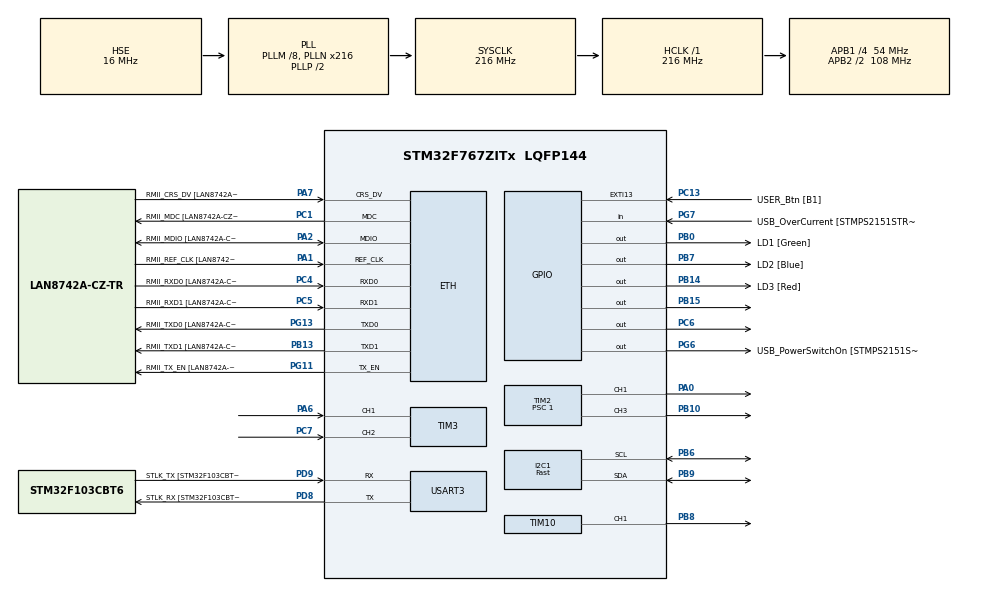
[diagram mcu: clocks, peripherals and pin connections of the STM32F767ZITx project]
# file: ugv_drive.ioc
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CORTEX_M7.AccessPermission-Cortex_Memory_Protection_Unit_Region0_Settings=MPU_REGION_FULL_ACCESS
CORTEX_M7.BaseAddress-Cortex_Memory_Protection_Unit_Region0_Settings=0x2007c000
CORTEX_M7.CPU_DCache=Enabled
CORTEX_M7.CPU_ICache=Enabled
CORTEX_M7.DisableExec-Cortex_Memory_Protection_Unit_Region0_Settings=MPU_INSTRUCTION_ACCESS_DISABLE
CORTEX_M7.Enable-Cortex_Memory_Protection_Unit_Region0_Settings=MPU_REGION_ENABLE
CORTEX_M7.IsShareable-Cortex_Memory_Protection_Unit_Region0_Settings=MPU_ACCESS_SHAREABLE
CORTEX_M7.MPU_Control=MPU_PRIVILEGED_DEFAULT
CORTEX_M7.PREFETCH_ENABLE=1
CORTEX_M7.Size-Cortex_Memory_Protection_Unit_Region0_Settings=MPU_REGION_SIZE_16KB
CORTEX_M7.TypeExtField-Cortex_Memory_Protection_Unit_Region0_Settings=MPU_TEX_LEVEL1
ETH.MACAddr=00\:80\:E1\:00\:00\:20
ETH.MediaInterface=HAL_ETH_RMII_MODE
I2C1.I2C_Speed_Mode=I2C_Fast
I2C1.Timing=0x6000030D
LWIP.BSP.number=1
LWIP.GATEWAY_ADDRESS=192.168.020.001
LWIP.IP_ADDRESS=192.168.020.021
LWIP.LWIP_DHCP=0
LWIP.MEM_SIZE=10*1024
LWIP.NETMASK_ADDRESS=255.255.255.000
LWIP.Version=v2.1.2_Cube
LWIP0.BSP.STBoard=false
LWIP0.BSP.api=BSP_COMPONENT_DRIVER
LWIP0.BSP.component=LAN8742
LWIP0.BSP.instance=LAN8742
LWIP0.BSP.name=Driver_PHY
LWIP0.BSP.semaphore=S_LAN8742
LWIP0.BSP.solution=LAN8742
Mcu.Family=STM32F7
Mcu.Name=STM32F767ZITx
Mcu.Package=LQFP144
NVIC.ETH_IRQn=true\:0\:0\:false\:false\:true\:true\:true\:true
NVIC.I2C1_ER_IRQn=true\:0\:0\:false\:false\:true\:true\:true\:true
NVIC.I2C1_EV_IRQn=true\:0\:0\:false\:false\:true\:true\:true\:true
NVIC.PriorityGroup=NVIC_PRIORITYGROUP_4
NVIC.TIM1_BRK_TIM9_IRQn=true\:0\:0\:false\:false\:true\:true\:true\:true
NVIC.TIM1_UP_TIM10_IRQn=true\:0\:0\:false\:false\:true\:true\:true\:true
NVIC.TIM3_IRQn=true\:0\:0\:false\:false\:true\:true\:true\:true
NVIC.TIM8_UP_TIM13_IRQn=true\:0\:0\:false\:false\:true\:true\:true\:true
PA0/WKUP.Signal=S_TIM2_CH1_ETR
PA1.GPIO_Label=RMII_REF_CLK [LAN8742A-CZ-TR_REFCLK0]
PA1.Mode=RMII
PA1.Signal=ETH_REF_CLK
PA10.GPIO_Label=USB_ID
PA10.Signal=USB_OTG_FS_ID
PA11.GPIO_Label=USB_DM
PA11.Signal=USB_OTG_FS_DM
PA12.GPIO_Label=USB_DP
PA12.Signal=USB_OTG_FS_DP
PA13.GPIO_Label=TMS
PA13.Signal=SYS_JTMS-SWDIO
PA14.GPIO_Label=TCK
PA14.Signal=SYS_JTCK-SWCLK
PA2.GPIO_Label=RMII_MDIO [LAN8742A-CZ-TR_MDIO]
PA2.Mode=RMII
PA2.Signal=ETH_MDIO
PA6.GPIO_PuPd=GPIO_PULLUP
PA6.Signal=S_TIM3_CH1
PA7.GPIO_Label=RMII_CRS_DV [LAN8742A-CZ-TR_CRS_DV]
PA7.Mode=RMII
PA7.Signal=ETH_CRS_DV
PA8.GPIO_Label=USB_SOF [TP1]
PA8.Signal=USB_OTG_FS_SOF
PA9.GPIO_Label=USB_VBUS
PA9.Signal=USB_OTG_FS_VBUS
PB0.GPIO_Label=LD1 [Green]
PB0.Signal=GPIO_Output
PB10.Signal=S_TIM2_CH3
PB13.GPIO_Label=RMII_TXD1 [LAN8742A-CZ-TR_TXD1]
PB13.Mode=RMII
PB13.Signal=ETH_TXD1
PB14.GPIO_Label=LD3 [Red]
PB14.Signal=GPIO_Output
PB15.Signal=GPIO_Output
PB3.GPIO_Label=SW0
PB3.Signal=SYS_JTDO-SWO
PB6.GPIO_Pu=GPIO_PULLUP
PB6.Mode=I2C
PB6.Signal=I2C1_SCL
PB7.GPIO_Label=LD2 [Blue]
PB7.Signal=GPIO_Output
PB8.Signal=S_TIM10_CH1
PB9.GPIO_Pu=GPIO_PULLUP
PB9.Mode=I2C
PB9.Signal=I2C1_SDA
PC1.GPIO_Label=RMII_MDC [LAN8742A-CZ-TR_MDC]
PC1.Mode=RMII
PC1.Signal=ETH_MDC
PC13.GPIO_Label=USER_Btn [B1]
PC13.Signal=GPXTI13
PC14/OSC32_IN.Signal=RCC_OSC32_IN
PC15/OSC32_OUT.Signal=RCC_OSC32_OUT
PC4.GPIO_Label=RMII_RXD0 [LAN8742A-CZ-TR_RXD0]
PC4.Mode=RMII
PC4.Signal=ETH_RXD0
PC5.GPIO_Label=RMII_RXD1 [LAN8742A-CZ-TR_RXD1]
PC5.Mode=RMII
PC5.Signal=ETH_RXD1
PC6.Signal=GPIO_Output
PC7.GPIO_PuPd=GPIO_PULLUP
PC7.Signal=S_TIM3_CH2
PD8.GPIO_Label=STLK_RX [STM32F103CBT6_PA3]
PD8.Mode=Asynchronous
PD8.Signal=USART3_TX
PD9.GPIO_Label=STLK_TX [STM32F103CBT6_PA2]
PD9.Mode=Asynchronous
PD9.Signal=USART3_RX
PG11.GPIO_Label=RMII_TX_EN [LAN8742A-CZ-TR_TXEN]
PG11.Mode=RMII
PG11.Signal=ETH_TX_EN
PG13.GPIO_Label=RMII_TXD0 [LAN8742A-CZ-TR_TXD0]
PG13.Mode=RMII
PG13.Signal=ETH_TXD0
PG6.GPIO_Label=USB_PowerSwitchOn [STMPS2151STR_EN]
PG6.Signal=GPIO_Output
PG7.GPIO_Label=USB_OverCurrent [STMPS2151STR_FAULT]
PG7.Signal=GPIO_Input
PH0/OSC_IN.GPIO_Label=MCO [STM32F103CBT6_PA8]
PH0/OSC_IN.Mode=HSE-External-Oscillator
PH0/OSC_IN.Signal=RCC_OSC_IN
PH1/OSC_OUT.Mode=HSE-External-Oscillator
PH1/OSC_OUT.Signal=RCC_OSC_OUT
ProjectManager.HeapSize=0x200
ProjectManager.StackSize=0x400
ProjectManager.TargetToolchain=STM32CubeIDE
RCC.48MHZClocksFreq_Value=24000000
RCC.AHBFreq_Value=216000000
RCC.APB1CLKDivider=RCC_HCLK_DIV4
RCC.APB1Freq_Value=54000000
RCC.APB1TimFreq_Value=108000000
RCC.APB2CLKDivider=RCC_HCLK_DIV2
RCC.APB2Freq_Value=108000000
RCC.APB2TimFreq_Value=216000000
RCC.CortexFreq_Value=216000000
RCC.HCLKFreq_Value=216000000
RCC.HSE_VALUE=16000000
RCC.HSI_VALUE=16000000
RCC.LSE_VALUE=32768
RCC.PLLM=8
RCC.PLLMUL=RCC_PLL_MUL9
RCC.PLLN=216
RCC.PLLSourceVirtual=RCC_PLLSOURCE_HSE
RCC.PRESCALERUSB=RCC_USBCLKSOURCE_PLL_DIV1_5
RCC.SYSCLKFreq_VALUE=216000000
RCC.SYSCLKSource=RCC_SYSCLKSOURCE_PLLCLK
RCC.SYSCLKSourceVirtual=RCC_SYSCLKSOURCE_PLLCLK
RCC.USBFreq_Value=216000000
RCC.VCOOutputFreq_Value=432000000
SH.S_TIM10_CH1.0=TIM10_CH1,PWM Generation1 CH1
SH.S_TIM2_CH1_ETR.0=TIM2_CH1,PWM Generation1 CH1
SH.S_TIM2_CH3.0=TIM2_CH3,PWM Generation3 CH3
SH.S_TIM3_CH1.0=TIM3_CH1,Encoder_Interface
SH.S_TIM3_CH2.0=TIM3_CH2,Encoder_Interface
TIM1.Period=10000
TIM1.Prescaler=10800
TIM10.AutoReloadPreload=TIM_AUTORELOAD_PRELOAD_ENABLE
TIM10.Channel=TIM_CHANNEL_1
TIM10.Period=1999
TIM10.Prescaler=1080
TIM13.Period=499
TIM13.Prescaler=2700
TIM2.Channel-PWM\ Generation1\ CH1=TIM_CHANNEL_1
TIM2.Channel-PWM\ Generation3\ CH3=TIM_CHANNEL_3
TIM2.Period=32767
TIM2.Prescaler=1
TIM3.EncoderMode=TIM_ENCODERMODE_TI12
USART3.VirtualMode-Asynchronous=VM_ASYNC
VP_LWIP_VS_Enabled.Mode=Enabled
VP_TIM10_VS_ClockSourceINT.Mode=Enable_Timer
VP_TIM13_VS_ClockSourceINT.Mode=Enable_Timer
VP_TIM1_VS_ClockSourceINT.Mode=Internal
board=NUCLEO-F767ZI

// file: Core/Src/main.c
/* USER CODE BEGIN Header */
/**
  ******************************************************************************
  * @file           : main.c
  * @brief          : Main program body
  ******************************************************************************
  * @attention
  *
  * Copyright (c) 2024 STMicroelectronics.
  * All rights reserved.
  *
  * This software is licensed under terms that can be found in the LICENSE file
  * in the root directory of this software component.
  * If no LICENSE file comes with this software, it is provided AS-IS.
  *
  ******************************************************************************
  */
/* USER CODE END Header */
#include "main.h"
#include "lwip.h"

/* USER CODE BEGIN Includes */
#include "lwip/pbuf.h"
#include "lwip/udp.h"
#include "lwip/tcp.h"

#include "stdio.h"
#include "string.h"
#include "math.h"

#include "ugv_servo.h"  //Include header for servo driver
#include "motor_control.h" // Motor Control Header for 2023 Driver

// Korbin Code
#include "pid_controller.h"
#include "ugv_encoder.h"
#include "kinematic.h"

/* USER CODE END Includes */

/* USER CODE BEGIN PD */
#define MAX_DUTY 32767

/* USER CODE END PD */

/* USER CODE BEGIN PM */
#define RAD_DEGREE_CONV (180.0/M_PI)
// UGV_LENGTH is the wheel to wheel length of the UGV in feet Might need to convert to meters
const float UGV_LENGTH = 1.7;
/* USER CODE END PM */

I2C_HandleTypeDef hi2c1;

TIM_HandleTypeDef htim1;
TIM_HandleTypeDef htim2;
TIM_HandleTypeDef htim3;
TIM_HandleTypeDef htim10;
TIM_HandleTypeDef htim13;

UART_HandleTypeDef huart3;

/* USER CODE BEGIN PV */

// instantiate steering servo struct
ugvServo_t steeringServo;
MotorControl ugv_drive_mtr;
// Variable to control steering angle
float steer_val = 0;
float velocity_val = 0;
float heading_error = 0;
float object_distance[5] = {0}; //contains 5 distance measurements from depth camera

//Korbin Code
float velocity = 0;
float velocity_set = 0;
float velocity_max = 7.58113636; //in mph
float velocity_error = 0;

kinematic kin;
position pos;

float motor_speed = 0;

// encoder variables
uint32_t enc = 0;

// PID variables
float P = 3.0;
float I = 2.0;
float D = 0.00001;

float PID_value = 0.0;

// Flags that are asserted when == 1
int auto_mode = 0;
int obstacle_flag = 0;
float integral_term = 0;

extern struct netif gnetif;
struct udp_pcb *upcb;
char buffer[100];
int counter;

/* USER CODE END PV */

void SystemClock_Config(void);
static void MPU_Config(void);
static void MX_GPIO_Init(void);
static void MX_TIM1_Init(void);
static void MX_TIM10_Init(void);
static void MX_USART3_UART_Init(void);
static void MX_TIM2_Init(void);
static void MX_TIM13_Init(void);
static void MX_I2C1_Init(void);
static void MX_TIM3_Init(void);
/* USER CODE BEGIN PFP */

void udp_receive_callback(void *arg, struct udp_pcb *upcb, struct pbuf *p,
		const ip_addr_t *addr, u16_t port);
static void udp_client_send();

void udp_client_connect();

void HAL_TIM_PeriodElapsedCallback(TIM_HandleTypeDef *htim);

/* USER CODE END PFP */

/* USER CODE BEGIN 0 */

void HAL_TIM_IC_CaptureCallback(TIM_HandleTypeDef *htim)
{
	enc = __HAL_TIM_GET_COUNTER(htim);
}

/* USER CODE END 0 */

int main(void)
{

  /* MPU Configuration--------------------------------------------------------*/
  MPU_Config();
/* Enable the CPU Cache */

  /* Enable I-Cache---------------------------------------------------------*/
  SCB_EnableICache();

  /* Enable D-Cache---------------------------------------------------------*/
  SCB_EnableDCache();

  /* MCU Configuration--------------------------------------------------------*/

  /* Reset of all peripherals, Initializes the Flash interface and the Systick. */
  HAL_Init();

  /* Configure the system clock */
  SystemClock_Config();

  /* Initialize all configured peripherals */
  MX_GPIO_Init();
  MX_LWIP_Init();
  MX_TIM1_Init();
  MX_TIM10_Init();
  MX_USART3_UART_Init();
  MX_TIM2_Init();
  MX_TIM13_Init();
  MX_I2C1_Init();
  MX_TIM3_Init();
  /* USER CODE BEGIN 2 */

	// 2022 Servo Driver
	steeringServo.timerInstance = &htim10;
	steeringServo.timerCCRX = &TIM10->CCR1;
	steeringServo.timerCh = TIM_CHANNEL_1;
	steeringServo.timerARR = htim10.Init.Period;
	steeringServo.minPulse = 500;
	steeringServo.maxPulse = 2500;
	steeringServo.timerPeriod = 20000;
	steeringServo.travelAngle = 270.0;

	steeringServo.minLimit = 5.0;
	steeringServo.maxLimit = 105.0;
	steeringServo.travelOffset = 50;

	// kinematics
	kin.L = 17; // wheel distance from front to rear in inches
	kin.steering_angle = 0;
	kin.velocity = 0;

	ugv_servoInitServo(&steeringServo);
	MotorControl_Init(&ugv_drive_mtr, &htim2, TIM_CHANNEL_1, TIM_CHANNEL_3);
	udp_client_connect();

  // Start Timer 3 Encoder mode
  HAL_TIM_Encoder_Start_IT(&htim3, TIM_CHANNEL_ALL);

  /*
   * Start HAL timer interrupt. Interrupt occurs once every 25ms
  */
  HAL_TIM_Base_Start_IT(&htim13);

  /* USER CODE END 2 */

  /* Infinite loop */
  /* USER CODE BEGIN WHILE */
  while (1)
  {

	  ethernetif_input(&gnetif);
	  ethernet_link_check_state(&gnetif);
	  sys_check_timeouts();

	HAL_GPIO_TogglePin(GPIOB, GPIO_PIN_14);
    /* USER CODE END WHILE */

  }
}

void SystemClock_Config(void)
{
  RCC_OscInitTypeDef RCC_OscInitStruct = {0};
  RCC_ClkInitTypeDef RCC_ClkInitStruct = {0};

  /** Configure the main internal regulator output voltage
  */
  __HAL_RCC_PWR_CLK_ENABLE();
  __HAL_PWR_VOLTAGESCALING_CONFIG(PWR_REGULATOR_VOLTAGE_SCALE1);

  /** Initializes the RCC Oscillators according to the specified parameters
  * in the RCC_OscInitTypeDef structure.
  */
  RCC_OscInitStruct.OscillatorType = RCC_OSCILLATORTYPE_HSE;
  RCC_OscInitStruct.HSEState = RCC_HSE_ON;
  RCC_OscInitStruct.PLL.PLLState = RCC_PLL_ON;
  RCC_OscInitStruct.PLL.PLLSource = RCC_PLLSOURCE_HSE;
  RCC_OscInitStruct.PLL.PLLM = 8;
  RCC_OscInitStruct.PLL.PLLN = 216;
  RCC_OscInitStruct.PLL.PLLP = RCC_PLLP_DIV2;
  RCC_OscInitStruct.PLL.PLLQ = 2;
  RCC_OscInitStruct.PLL.PLLR = 2;
  if (HAL_RCC_OscConfig(&RCC_OscInitStruct) != HAL_OK)
  {
    Error_Handler();
  }

  /** Activate the Over-Drive mode
  */
  if (HAL_PWREx_EnableOverDrive() != HAL_OK)
  {
    Error_Handler();
  }

  /** Initializes the CPU, AHB and APB buses clocks
  */
  RCC_ClkInitStruct.ClockType = RCC_CLOCKTYPE_HCLK|RCC_CLOCKTYPE_SYSCLK
                              |RCC_CLOCKTYPE_PCLK1|RCC_CLOCKTYPE_PCLK2;
  RCC_ClkInitStruct.SYSCLKSource = RCC_SYSCLKSOURCE_PLLCLK;
  RCC_ClkInitStruct.AHBCLKDivider = RCC_SYSCLK_DIV1;
  RCC_ClkInitStruct.APB1CLKDivider = RCC_HCLK_DIV4;
  RCC_ClkInitStruct.APB2CLKDivider = RCC_HCLK_DIV2;

  if (HAL_RCC_ClockConfig(&RCC_ClkInitStruct, FLASH_LATENCY_7) != HAL_OK)
  {
    Error_Handler();
  }
}

static void MX_I2C1_Init(void)
{

  hi2c1.Instance = I2C1;
  hi2c1.Init.Timing = 0x6000030D;
  hi2c1.Init.OwnAddress1 = 0;
  hi2c1.Init.AddressingMode = I2C_ADDRESSINGMODE_7BIT;
  hi2c1.Init.DualAddressMode = I2C_DUALADDRESS_DISABLE;
  hi2c1.Init.OwnAddress2 = 0;
  hi2c1.Init.OwnAddress2Masks = I2C_OA2_NOMASK;
  hi2c1.Init.GeneralCallMode = I2C_GENERALCALL_DISABLE;
  hi2c1.Init.NoStretchMode = I2C_NOSTRETCH_DISABLE;
  if (HAL_I2C_Init(&hi2c1) != HAL_OK)
  {
    Error_Handler();
  }

  /** Configure Analogue filter
  */
  if (HAL_I2CEx_ConfigAnalogFilter(&hi2c1, I2C_ANALOGFILTER_ENABLE) != HAL_OK)
  {
    Error_Handler();
  }

  /** Configure Digital filter
  */
  if (HAL_I2CEx_ConfigDigitalFilter(&hi2c1, 0) != HAL_OK)
  {
    Error_Handler();
  }

}

static void MX_TIM1_Init(void)
{

  TIM_ClockConfigTypeDef sClockSourceConfig = {0};
  TIM_MasterConfigTypeDef sMasterConfig = {0};

  htim1.Instance = TIM1;
  htim1.Init.Prescaler = 10800;
  htim1.Init.CounterMode = TIM_COUNTERMODE_UP;
  htim1.Init.Period = 10000;
  htim1.Init.ClockDivision = TIM_CLOCKDIVISION_DIV1;
  htim1.Init.RepetitionCounter = 0;
  htim1.Init.AutoReloadPreload = TIM_AUTORELOAD_PRELOAD_DISABLE;
  if (HAL_TIM_Base_Init(&htim1) != HAL_OK)
  {
    Error_Handler();
  }
  sClockSourceConfig.ClockSource = TIM_CLOCKSOURCE_INTERNAL;
  if (HAL_TIM_ConfigClockSource(&htim1, &sClockSourceConfig) != HAL_OK)
  {
    Error_Handler();
  }
  sMasterConfig.MasterOutputTrigger = TIM_TRGO_RESET;
  sMasterConfig.MasterOutputTrigger2 = TIM_TRGO2_RESET;
  sMasterConfig.MasterSlaveMode = TIM_MASTERSLAVEMODE_DISABLE;
  if (HAL_TIMEx_MasterConfigSynchronization(&htim1, &sMasterConfig) != HAL_OK)
  {
    Error_Handler();
  }

}

static void MX_TIM2_Init(void)
{

  TIM_MasterConfigTypeDef sMasterConfig = {0};
  TIM_OC_InitTypeDef sConfigOC = {0};

  htim2.Instance = TIM2;
  htim2.Init.Prescaler = 1;
  htim2.Init.CounterMode = TIM_COUNTERMODE_UP;
  htim2.Init.Period = 32767;
  htim2.Init.ClockDivision = TIM_CLOCKDIVISION_DIV1;
  htim2.Init.AutoReloadPreload = TIM_AUTORELOAD_PRELOAD_DISABLE;
  if (HAL_TIM_PWM_Init(&htim2) != HAL_OK)
  {
    Error_Handler();
  }
  sMasterConfig.MasterOutputTrigger = TIM_TRGO_RESET;
  sMasterConfig.MasterSlaveMode = TIM_MASTERSLAVEMODE_DISABLE;
  if (HAL_TIMEx_MasterConfigSynchronization(&htim2, &sMasterConfig) != HAL_OK)
  {
    Error_Handler();
  }
  sConfigOC.OCMode = TIM_OCMODE_PWM1;
  sConfigOC.Pulse = 0;
  sConfigOC.OCPolarity = TIM_OCPOLARITY_HIGH;
  sConfigOC.OCFastMode = TIM_OCFAST_DISABLE;
  if (HAL_TIM_PWM_ConfigChannel(&htim2, &sConfigOC, TIM_CHANNEL_1) != HAL_OK)
  {
    Error_Handler();
  }
  if (HAL_TIM_PWM_ConfigChannel(&htim2, &sConfigOC, TIM_CHANNEL_3) != HAL_OK)
  {
    Error_Handler();
  }
  HAL_TIM_MspPostInit(&htim2);

}

static void MX_TIM3_Init(void)
{

  TIM_Encoder_InitTypeDef sConfig = {0};
  TIM_MasterConfigTypeDef sMasterConfig = {0};

  htim3.Instance = TIM3;
  htim3.Init.Prescaler = 0;
  htim3.Init.CounterMode = TIM_COUNTERMODE_UP;
  htim3.Init.Period = 65535;
  htim3.Init.ClockDivision = TIM_CLOCKDIVISION_DIV1;
  htim3.Init.AutoReloadPreload = TIM_AUTORELOAD_PRELOAD_DISABLE;
  sConfig.EncoderMode = TIM_ENCODERMODE_TI12;
  sConfig.IC1Polarity = TIM_ICPOLARITY_RISING;
  sConfig.IC1Selection = TIM_ICSELECTION_DIRECTTI;
  sConfig.IC1Prescaler = TIM_ICPSC_DIV1;
  sConfig.IC1Filter = 0;
  sConfig.IC2Polarity = TIM_ICPOLARITY_RISING;
  sConfig.IC2Selection = TIM_ICSELECTION_DIRECTTI;
  sConfig.IC2Prescaler = TIM_ICPSC_DIV1;
  sConfig.IC2Filter = 0;
  if (HAL_TIM_Encoder_Init(&htim3, &sConfig) != HAL_OK)
  {
    Error_Handler();
  }
  sMasterConfig.MasterOutputTrigger = TIM_TRGO_RESET;
  sMasterConfig.MasterSlaveMode = TIM_MASTERSLAVEMODE_DISABLE;
  if (HAL_TIMEx_MasterConfigSynchronization(&htim3, &sMasterConfig) != HAL_OK)
  {
    Error_Handler();
  }

}

static void MX_TIM10_Init(void)
{

  TIM_OC_InitTypeDef sConfigOC = {0};

  htim10.Instance = TIM10;
  htim10.Init.Prescaler = 1080;
  htim10.Init.CounterMode = TIM_COUNTERMODE_UP;
  htim10.Init.Period = 1999;
  htim10.Init.ClockDivision = TIM_CLOCKDIVISION_DIV1;
  htim10.Init.AutoReloadPreload = TIM_AUTORELOAD_PRELOAD_ENABLE;
  if (HAL_TIM_Base_Init(&htim10) != HAL_OK)
  {
    Error_Handler();
  }
  if (HAL_TIM_PWM_Init(&htim10) != HAL_OK)
  {
    Error_Handler();
  }
  sConfigOC.OCMode = TIM_OCMODE_PWM1;
  sConfigOC.Pulse = 0;
  sConfigOC.OCPolarity = TIM_OCPOLARITY_HIGH;
  sConfigOC.OCFastMode = TIM_OCFAST_DISABLE;
  if (HAL_TIM_PWM_ConfigChannel(&htim10, &sConfigOC, TIM_CHANNEL_1) != HAL_OK)
  {
    Error_Handler();
  }
  HAL_TIM_MspPostInit(&htim10);

}

static void MX_TIM13_Init(void)
{

  htim13.Instance = TIM13;
  htim13.Init.Prescaler = 2700;
  htim13.Init.CounterMode = TIM_COUNTERMODE_UP;
  htim13.Init.Period = 499;
  htim13.Init.ClockDivision = TIM_CLOCKDIVISION_DIV1;
  htim13.Init.AutoReloadPreload = TIM_AUTORELOAD_PRELOAD_DISABLE;
  if (HAL_TIM_Base_Init(&htim13) != HAL_OK)
  {
    Error_Handler();
  }

}

static void MX_USART3_UART_Init(void)
{

  huart3.Instance = USART3;
  huart3.Init.BaudRate = 115200;
  huart3.Init.WordLength = UART_WORDLENGTH_8B;
  huart3.Init.StopBits = UART_STOPBITS_1;
  huart3.Init.Parity = UART_PARITY_NONE;
  huart3.Init.Mode = UART_MODE_TX_RX;
  huart3.Init.HwFlowCtl = UART_HWCONTROL_NONE;
  huart3.Init.OverSampling = UART_OVERSAMPLING_16;
  huart3.Init.OneBitSampling = UART_ONE_BIT_SAMPLE_DISABLE;
  huart3.AdvancedInit.AdvFeatureInit = UART_ADVFEATURE_NO_INIT;
  if (HAL_UART_Init(&huart3) != HAL_OK)
  {
    Error_Handler();
  }

}

static void MX_GPIO_Init(void)
{
  GPIO_InitTypeDef GPIO_InitStruct = {0};

  /* GPIO Ports Clock Enable */
  __HAL_RCC_GPIOC_CLK_ENABLE();
  __HAL_RCC_GPIOH_CLK_ENABLE();
  __HAL_RCC_GPIOA_CLK_ENABLE();
  __HAL_RCC_GPIOB_CLK_ENABLE();
  __HAL_RCC_GPIOD_CLK_ENABLE();
  __HAL_RCC_GPIOG_CLK_ENABLE();

  /*Configure GPIO pin Output Level */
  HAL_GPIO_WritePin(GPIOB, LD1_Pin|LD3_Pin|GPIO_PIN_15|LD2_Pin, GPIO_PIN_RESET);

  /*Configure GPIO pin Output Level */
  HAL_GPIO_WritePin(USB_PowerSwitchOn_GPIO_Port, USB_PowerSwitchOn_Pin, GPIO_PIN_RESET);

  /*Configure GPIO pin Output Level */
  HAL_GPIO_WritePin(GPIOC, GPIO_PIN_6, GPIO_PIN_RESET);

  /*Configure GPIO pin : USER_Btn_Pin */
  GPIO_InitStruct.Pin = USER_Btn_Pin;
  GPIO_InitStruct.Mode = GPIO_MODE_IT_RISING;
  GPIO_InitStruct.Pull = GPIO_NOPULL;
  HAL_GPIO_Init(USER_Btn_GPIO_Port, &GPIO_InitStruct);

  /*Configure GPIO pins : LD1_Pin LD3_Pin PB15 LD2_Pin */
  GPIO_InitStruct.Pin = LD1_Pin|LD3_Pin|GPIO_PIN_15|LD2_Pin;
  GPIO_InitStruct.Mode = GPIO_MODE_OUTPUT_PP;
  GPIO_InitStruct.Pull = GPIO_NOPULL;
  GPIO_InitStruct.Speed = GPIO_SPEED_FREQ_LOW;
  HAL_GPIO_Init(GPIOB, &GPIO_InitStruct);

  /*Configure GPIO pin : USB_PowerSwitchOn_Pin */
  GPIO_InitStruct.Pin = USB_PowerSwitchOn_Pin;
  GPIO_InitStruct.Mode = GPIO_MODE_OUTPUT_PP;
  GPIO_InitStruct.Pull = GPIO_NOPULL;
  GPIO_InitStruct.Speed = GPIO_SPEED_FREQ_LOW;
  HAL_GPIO_Init(USB_PowerSwitchOn_GPIO_Port, &GPIO_InitStruct);

  /*Configure GPIO pin : USB_OverCurrent_Pin */
  GPIO_InitStruct.Pin = USB_OverCurrent_Pin;
  GPIO_InitStruct.Mode = GPIO_MODE_INPUT;
  GPIO_InitStruct.Pull = GPIO_NOPULL;
  HAL_GPIO_Init(USB_OverCurrent_GPIO_Port, &GPIO_InitStruct);

  /*Configure GPIO pin : PC6 */
  GPIO_InitStruct.Pin = GPIO_PIN_6;
  GPIO_InitStruct.Mode = GPIO_MODE_OUTPUT_PP;
  GPIO_InitStruct.Pull = GPIO_NOPULL;
  GPIO_InitStruct.Speed = GPIO_SPEED_FREQ_LOW;
  HAL_GPIO_Init(GPIOC, &GPIO_InitStruct);

  /*Configure GPIO pins : USB_SOF_Pin USB_ID_Pin USB_DM_Pin USB_DP_Pin */
  GPIO_InitStruct.Pin = USB_SOF_Pin|USB_ID_Pin|USB_DM_Pin|USB_DP_Pin;
  GPIO_InitStruct.Mode = GPIO_MODE_AF_PP;
  GPIO_InitStruct.Pull = GPIO_NOPULL;
  GPIO_InitStruct.Speed = GPIO_SPEED_FREQ_VERY_HIGH;
  GPIO_InitStruct.Alternate = GPIO_AF10_OTG_FS;
  HAL_GPIO_Init(GPIOA, &GPIO_InitStruct);

  /*Configure GPIO pin : USB_VBUS_Pin */
  GPIO_InitStruct.Pin = USB_VBUS_Pin;
  GPIO_InitStruct.Mode = GPIO_MODE_INPUT;
  GPIO_InitStruct.Pull = GPIO_NOPULL;
  HAL_GPIO_Init(USB_VBUS_GPIO_Port, &GPIO_InitStruct);

}

/* USER CODE BEGIN 4 */

/*
 * The timer callback is executing the heading control loop every T = 25ms
 *
 */

void HAL_TIM_PeriodElapsedCallback(TIM_HandleTypeDef *htim)
{
	static const float Ki_heading = 0.18; //Ki value for heading controller
	static const float Kp_heading = 3;  //Kp value for heading controller
	static const float TIME_SEP = 0.025;

	if (!auto_mode) // Manual Control Enabled
	{
		//steer_val *= (-1.0);
		ugv_servoSetAngle(&steeringServo, steeringServo.maxLimit *steer_val);
		MotorControl_SetSpeed(&ugv_drive_mtr, &htim2, velocity_val);
	}
	else // Autonomous Mode enabled
	{
		integral_term += heading_error * TIME_SEP;
		if (integral_term > (steeringServo.maxLimit - steeringServo.minLimit))
			integral_term = (float)(steeringServo.maxLimit - steeringServo.minLimit);
		if (integral_term <  (-1.0) * (steeringServo.maxLimit - steeringServo.minLimit))
			integral_term = (-1.0) * (steeringServo.maxLimit - steeringServo.minLimit);

		// Add logic to account for detecting objects to the left and right
		if (obstacle_flag >= 1 && object_distance[2] != 0) //Obstacle was detected
		{
			// Kinematics for UGV obstacle avoidance logic
			steer_val = RAD_DEGREE_CONV * atan2(UGV_LENGTH, object_distance[2]);
			//steer_val = steer_val;
		}
		else
		{
			steer_val =  Kp_heading * heading_error + Ki_heading * integral_term;  //Implementation of a PI controller
		}

		velocity_set = velocity_val * velocity_max; //When autonomous is enabled we use velocity_val as a scaling term that is multiplied by velocity_max

		//PID
		PID_value = PID_controller_1(abs(velocity_set), velocity, P, I, D, velocity_max);

		//motor driver
		if(velocity_set >= 0)
		{
			velocity_val = PID_value / velocity_max; // calculate the percentage of the velocity
		}
		else
		{
			velocity_val = (PID_value / velocity_max) * -1.0; // calculate the percentage of the velocity
		}

		steer_val *= (-1); //Invert Steering for this years ugv
		ugv_servoSetAngle(&steeringServo, steer_val);
		MotorControl_SetSpeed(&ugv_drive_mtr, &htim2, velocity_val);

	}

	//MotorControl_SetSpeed(&ugv_drive_mtr, &htim2, velocity_val);
	//Encoder
	velocity = encoder(enc);

	// kinematics
	kin.velocity = velocity; //assigns the velocity value to the kinematics struct
	kin.steering_angle = heading_error; //assigns the steering value to the kinematics struct

	dead_reckoning(&kin, &pos, 0.025); //calculates and returns the position values of dead reckoning
}

/*
 * The function creates a udp protocol control block
 * Creates a structure that contains an IPv4 address of the nucleo
 * Binds the protocol control block to the ip address and port of the nucleo
 * Creates the IP address of the device that the nucleo will be communicating with
 * Connects the udp protocol control block to the remote ip address
 * Checks if udp_connect() is successful
 */

void udp_client_connect()
{
	err_t err;
	const uint16_t DRIVE_STM_PORT = 8;
	const uint16_t JETSON_PORT = 12345;

	upcb = udp_new(); 	// Create a new UDP control block. Need to check for NULL return

	ip_addr_t my_ip;
	IP_ADDR4(&my_ip, 192, 168, 20, 21); //Drive stm ip address
	udp_bind(upcb, &my_ip, DRIVE_STM_PORT);

	// Configure destination IP address
	// Host ip address: 192.168.20.5
	// Arbitrary port # selection: 12345
	ip_addr_t DestIPaddr;
	IP_ADDR4(&DestIPaddr, 192, 168, 20, 5);  //Jetson Orin Nano host ip address
	err = udp_connect(upcb, &DestIPaddr, JETSON_PORT);

	if (err == HAL_OK)
	{
		// Blue LED
		HAL_GPIO_TogglePin(GPIOB, GPIO_PIN_7);
		udp_recv(upcb, udp_receive_callback, NULL);
	}
}

static void udp_client_send()
{
	struct pbuf *tx_buff;
	char data[100];

	int len = sprintf(data, "Sending UDP client message: %d", counter);

	// Allocate pbuf from pool
	tx_buff = pbuf_alloc(PBUF_TRANSPORT, len, PBUF_RAM);

	if (tx_buff != NULL)
	{
		// Copy data into pbuf
		pbuf_take(tx_buff, data, len);

		// Send udp data
		udp_send(upcb, tx_buff);

		// Free pbuf
		pbuf_free(tx_buff);
	}
}

void udp_receive_callback(void *arg, struct udp_pcb *upcb, struct pbuf *p,
		const ip_addr_t *addr, u16_t port)
{
	// Copy data from the pbuf
	strncpy(buffer, (char *)p->payload, p->len);

	//Parse Input
	uint8_t data_index = 0;
	float drive_vals[10] = {0};
	char *buffer_data = strtok(buffer, ",");
	while (buffer_data != NULL && data_index < 10)
	{
		float conv_check = atof(buffer_data);
		//Make sure data was converted properly
		if (conv_check == 0)
		{
			HAL_GPIO_TogglePin(GPIOB, GPIO_PIN_14);
		}

		drive_vals[data_index] = conv_check;
		++data_index;
		buffer_data = strtok(NULL, ",");
	}

	// Free receive packet buffer;
	pbuf_free(p);
	velocity_val = drive_vals[0];
	steer_val = drive_vals[1];
	auto_mode = (int)drive_vals[2];
	heading_error = drive_vals[3]; //Receive Heading Error

	object_distance[0] = drive_vals[4];
	object_distance[1] = drive_vals[5];
	object_distance[2] = drive_vals[6];
	object_distance[3] = drive_vals[7];
	object_distance[4] = drive_vals[8];
	obstacle_flag = (int)drive_vals[9];

	/* NEED TO DIVIDE HEADING ERROR BY 100 TO RESCALE VALUE */

	//Might need to reset drive_vals to 0
	HAL_GPIO_TogglePin(GPIOB, GPIO_PIN_0);
	memset(buffer, '0', sizeof(buffer));
}

/* USER CODE END 4 */

/* MPU Configuration */

void MPU_Config(void)
{
  MPU_Region_InitTypeDef MPU_InitStruct = {0};

  /* Disables the MPU */
  HAL_MPU_Disable();

  /** Initializes and configures the Region and the memory to be protected
  */
  MPU_InitStruct.Enable = MPU_REGION_ENABLE;
  MPU_InitStruct.Number = MPU_REGION_NUMBER0;
  MPU_InitStruct.BaseAddress = 0x2007c000;
  MPU_InitStruct.Size = MPU_REGION_SIZE_16KB;
  MPU_InitStruct.SubRegionDisable = 0x0;
  MPU_InitStruct.TypeExtField = MPU_TEX_LEVEL1;
  MPU_InitStruct.AccessPermission = MPU_REGION_FULL_ACCESS;
  MPU_InitStruct.DisableExec = MPU_INSTRUCTION_ACCESS_DISABLE;
  MPU_InitStruct.IsShareable = MPU_ACCESS_SHAREABLE;
  MPU_InitStruct.IsCacheable = MPU_ACCESS_NOT_CACHEABLE;
  MPU_InitStruct.IsBufferable = MPU_ACCESS_NOT_BUFFERABLE;

  HAL_MPU_ConfigRegion(&MPU_InitStruct);
  /* Enables the MPU */
  HAL_MPU_Enable(MPU_PRIVILEGED_DEFAULT);

}

void Error_Handler(void)
{
  __disable_irq();
  while (1)
  {
  }
}
